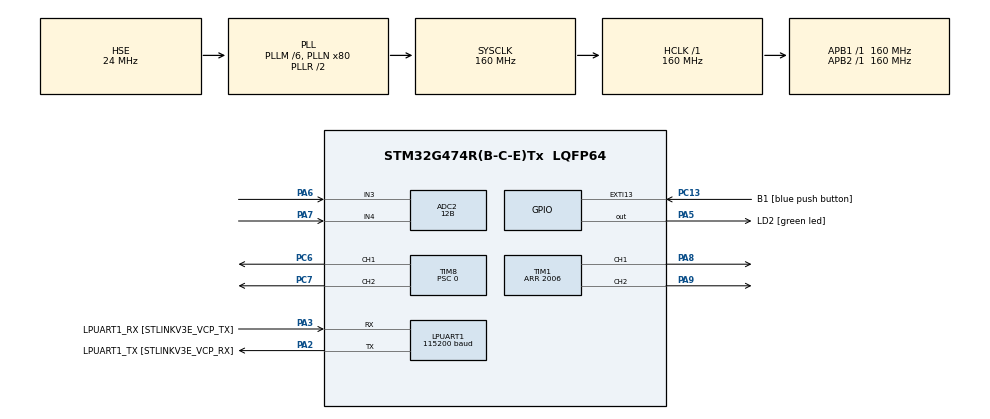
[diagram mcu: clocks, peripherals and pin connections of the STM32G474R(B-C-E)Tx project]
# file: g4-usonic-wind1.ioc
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Mcu.Family=STM32G4
Dma.ADC2.0.SyncRequestNumber=1
ADC2.ExternalTrigConv=ADC_EXTERNALTRIG_T3_TRGO
PA6.Mode=IN3-Differential
RCC.CortexFreq_Value=160000000
Dma.ADC2.0.SyncEnable=DISABLE
Dma.ADC2.0.RequestNumber=1
ADC2.Channel-0\#ChannelRegularConversion=ADC_CHANNEL_3
PA14.GPIO_Label=T_SWCLK
LPUART1.WordLength=UART_WORDLENGTH_8B
PC13.GPIO_Label=B1 [blue push button]
RCC.SYSCLKSource=RCC_SYSCLKSOURCE_PLLCLK
ProjectManager.StackSize=0x400
TIM1.Dithering=Disable
TIM1.Channel-Output\ Compare2\ CH2=TIM_CHANNEL_2
ADC2.DMAContinuousRequests=ENABLE
RCC.HCLKFreq_Value=160000000
Dma.ADC2.0.Direction=DMA_PERIPH_TO_MEMORY
RCC.APB2TimFreq_Value=160000000
PC7.Signal=S_TIM8_CH2
Dma.ADC2.0.MemInc=DMA_MINC_ENABLE
ADC2.EOCSelection=ADC_EOC_SEQ_CONV
RCC.AHBFreq_Value=160000000
Dma.ADC2.0.Priority=DMA_PRIORITY_LOW
NVIC.EXTI15_10_IRQn=true\:0\:0\:false\:false\:true\:true\:true
RCC.HSE_VALUE=24000000
PB3.Mode=Trace_Asynchronous_SW
RCC.ADC12Freq_Value=160000000
RCC.RTCClockSelection=RCC_RTCCLKSOURCE_LSE
Dma.ADC2.0.SyncSignalID=NONE
PC14-OSC32_IN.Mode=LSE-External-Oscillator
PA14.Mode=Trace_Asynchronous_SW
ADC2.SingleDiff-0\#ChannelRegularConversion=ADC_DIFFERENTIAL_ENDED
VP_CORDIC_VS_CORDIC.Mode=CORDIC_Activate
TIM3.Prescaler=0
VP_SYS_VS_DBSignals.Mode=DisableDeadBatterySignals
Dma.ADC2.0.SignalID=NONE
PA8.Signal=S_TIM1_CH1
VP_TIM1_VS_ClockSourceINT.Mode=Internal
Dma.ADC2.0.Polarity=HAL_DMAMUX_REQ_GEN_RISING
Mcu.Package=LQFP64
PA6.Signal=ADC2_IN3
TIM8.OCMode_2=TIM_OCMODE_TOGGLE
PA2.GPIO_Label=LPUART1_TX [STLINKV3E_VCP_RX]
TIM8.OCMode_1=TIM_OCMODE_TOGGLE
ADC2.SamplingTime-0\#ChannelRegularConversion=ADC_SAMPLETIME_2CYCLES_5
TIM3.PeriodNoDither=99
Dma.ADC2.0.EventEnable=DISABLE
Dma.ADC2.0.Mode=DMA_CIRCULAR
TIM8.Prescaler=0
Dma.ADC2.0.PeriphDataAlignment=DMA_PDATAALIGN_HALFWORD
RCC.APB1TimFreq_Value=160000000
VP_SYS_V_VREFBUF.Mode=ExternalMode
ADC2.Rank-0\#ChannelRegularConversion=1
PF1-OSC_OUT.Mode=HSE-External-Oscillator
Dma.Request0=ADC2
TIM1.PulseNoDither_1=1
TIM1.PulseNoDither_2=1301
VP_TIM3_VS_ClockSourceINT.Mode=Internal
PF1-OSC_OUT.Signal=RCC_OSC_OUT
RCC.HSI48_VALUE=48000000
PA3.Signal=LPUART1_RX
PB3.GPIO_Label=T_SWO
ADC2.ClockPrescaler=ADC_CLOCK_SYNC_PCLK_DIV1
RCC.PLLSourceVirtual=RCC_PLLSOURCE_HSE
PC15-OSC32_OUT.Mode=LSE-External-Oscillator
PA7.Mode=IN3-Differential
PC13.Signal=GPXTI13
TIM1.OCMode_2=TIM_OCMODE_TOGGLE
PC6.Signal=S_TIM8_CH1
TIM1.OCMode_1=TIM_OCMODE_TOGGLE
RCC.EXTERNAL_CLOCK_VALUE=12288000
PC14-OSC32_IN.Signal=RCC_OSC32_IN
TIM8.PulseNoDither_1=1
TIM8.PulseNoDither_2=1301
SH.S_TIM8_CH2.0=TIM8_CH2,Output Compare2 CH2
Dma.ADC2.0.SyncPolarity=HAL_DMAMUX_SYNC_NO_EVENT
PA13.Signal=SYS_JTMS-SWDIO
PA3.Mode=Asynchronous
SH.S_TIM1_CH1.0=TIM1_CH1,Output Compare1 CH1
ADC2.ContinuousConvMode=DISABLE
ProjectManager.TargetToolchain=STM32CubeIDE
Dma.ADC2.0.MemDataAlignment=DMA_MDATAALIGN_HALFWORD
PA9.Signal=S_TIM1_CH2
VP_TIM8_VS_ClockSourceINT.Mode=Internal
TIM8.Channel-Output\ Compare1\ CH1=TIM_CHANNEL_1
RCC.USBFreq_Value=160000000
PC15-OSC32_OUT.Signal=RCC_OSC32_OUT
PF0-OSC_IN.Mode=HSE-External-Oscillator
PA5.Signal=GPIO_Output
ADC2.OffsetNumber-0\#ChannelRegularConversion=ADC_OFFSET_NONE
SH.S_TIM8_CH1.0=TIM8_CH1,Output Compare1 CH1
TIM8.AutoReloadPreload=TIM_AUTORELOAD_PRELOAD_ENABLE
board=NUCLEO-G474RE
RCC.VCOOutputFreq_Value=320000000
Dma.ADC2.0.PeriphInc=DMA_PINC_DISABLE
RCC.ADC345Freq_Value=160000000
TIM1.TIM_MasterOutputTrigger=TIM_TRGO_ENABLE
RCC.APB2Freq_Value=160000000
SH.S_TIM1_CH2.0=TIM1_CH2,Output Compare2 CH2
TIM8.Channel-Output\ Compare2\ CH2=TIM_CHANNEL_2
PA13.Mode=Trace_Asynchronous_SW
Mcu.Name=STM32G474R(B-C-E)Tx
ADC2.Resolution=ADC_RESOLUTION_12B
LPUART1.BaudRate=115200
PA13.GPIO_Label=T_SWDIO
PA2.Signal=LPUART1_TX
PB3.Signal=SYS_JTDO-SWO
RCC.SYSCLKFreq_VALUE=160000000
PA5.GPIO_Label=LD2 [green led]
ADC2.NbrOfConversionFlag=1
TIM8.TIM_MasterOutputTrigger=TIM_TRGO_OC4REF
PA14.Signal=SYS_JTCK-SWCLK
ProjectManager.HeapSize=0x200
ADC2.OversamplingMode=DISABLE
TIM1.Channel-Output\ Compare1\ CH1=TIM_CHANNEL_1
TIM8.PeriodNoDither=1999
RCC.HSI_VALUE=16000000
NVIC.PriorityGroup=NVIC_PRIORITYGROUP_4
RCC.PLLM=RCC_PLLM_DIV6
RCC.PLLN=80
PA2.Mode=Asynchronous
NVIC.DMA1_Channel1_IRQn=true\:0\:0\:false\:false\:true\:false\:true
PF0-OSC_IN.Signal=RCC_OSC_IN
TIM3.TIM_MasterOutputTrigger=TIM_TRGO_UPDATE
RCC.APB1Freq_Value=160000000
Dma.ADC2.0.Instance=DMA1_Channel1
TIM1.PeriodNoDither=2006
TIM1.TIM_MasterSlaveMode=TIM_MASTERSLAVEMODE_ENABLE
PA3.GPIO_Label=LPUART1_RX [STLINKV3E_VCP_TX]
PA7.Signal=ADC2_IN4

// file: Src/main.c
/* USER CODE BEGIN Header */
/**
 ******************************************************************************
 * @file           : main.c
 * @brief          : Main program body
 ******************************************************************************
 * @attention
 *
 * <h2><center>&copy; Copyright (c) 2019 STMicroelectronics.
 * All rights reserved.</center></h2>
 *
 * This software component is licensed by ST under BSD 3-Clause license,
 * the "License"; You may not use this file except in compliance with the
 * License. You may obtain a copy of the License at:
 *                        opensource.org/licenses/BSD-3-Clause
 *
 ******************************************************************************
 */
/* USER CODE END Header */

#include "main.h"
#include "adc.h"
#include "cordic.h"
#include "dma.h"
#include "usart.h"
#include "tim.h"
#include "gpio.h"

void SystemClock_Config(void);
/* USER CODE BEGIN PFP */
#pragma clang diagnostic push
#pragma ide diagnostic ignored "readability-redundant-declaration"
_Noreturn void assert_failed(uint8_t *file, uint32_t line);
/* USER CODE END PFP */

/* USER CODE BEGIN 0 */
#pragma clang diagnostic push
#pragma ide diagnostic ignored "bugprone-reserved-identifier"
#pragma ide diagnostic ignored "cert-dcl37-c"
#pragma ide diagnostic ignored "cert-dcl51-cpp"
int _write(__unused int file, char *ptr, int len) {
  UNUSED(_write);
  HAL_UART_Transmit(&hlpuart1, (uint8_t *)ptr, len, len);
  return len;
}
#pragma clang diagnostic pop
#pragma clang diagnostic pop
uint16_t adcBuffer[ADC_BUF_LEN];

volatile int adcFinished = 3;
void HAL_ADC_ConvCpltCallback(ADC_HandleTypeDef *hadc) {
  UNUSED(hadc);
  if (--adcFinished == 0) {
    __HAL_TIM_ENABLE(&htim3);
    __HAL_TIM_ENABLE(&htim1);
    __HAL_TIM_ENABLE(&htim8);
  }
}
void enableTimUpdateTrgO(TIM_HandleTypeDef *timHandle) {
  MODIFY_REG(timHandle->Instance->SMCR, TIM_SMCR_SMS, TIM_SMCR_SMS_1);
}

void static inline writeBit(const volatile uint32_t *reg, int bitNum, int v) {
  *(volatile int *)(PERIPH_BB_BASE + 32L * ((uint32_t)(reg)-PERIPH_BASE) +
                    bitNum) = v;
}
void static inline setBit(volatile uint32_t *reg, int bitNum) {
  writeBit(reg, bitNum, 1);
}
void static inline resetBit(volatile uint32_t *reg, int bitNum) {
  writeBit(reg, bitNum, 0);
}
void startTimers() {
  HAL_SuspendTick();
  __HAL_TIM_SET_COUNTER(&htim1,0);
  __HAL_TIM_SET_COUNTER(&htim3,0);
  __HAL_TIM_SET_COUNTER(&htim8,0);
  setBit(&TIM1->CR1, TIM_CR1_CEN_Pos);
  setBit(&TIM3->CR1, TIM_CR1_CEN_Pos);
  setBit(&TIM8->CR1, TIM_CR1_CEN_Pos);
  /*
    *(volatile uint32_t *)(PERIPH_BB_BASE +
                           32L * (uint32_t)((&) - PERIPH_BASE)) =
        0xFFFFFFFF;
    HAL_TIM_Base_Start(&htim8);
    HAL_TIM_Base_Start(&htim3);
    HAL_TIM_Base_Start(&htim1);
  */
}

void stoptTimers() {
  resetBit(&TIM3->CR1, TIM_CR1_CEN_Pos);
  resetBit(&TIM1->CR1, TIM_CR1_CEN_Pos);
  resetBit(&TIM8->CR1, TIM_CR1_CEN_Pos);
  HAL_ResumeTick();
}

/* USER CODE END 0 */

int main(void)
{

  /* MCU Configuration--------------------------------------------------------*/

  /* Reset of all peripherals, Initializes the Flash interface and the Systick. */
  HAL_Init();

  /* Configure the system clock */
  SystemClock_Config();

  /* Initialize all configured peripherals */
  MX_GPIO_Init();
  MX_LPUART1_UART_Init();
  MX_CORDIC_Init();
  MX_TIM8_Init();
  MX_DMA_Init();
  MX_ADC2_Init();
  MX_TIM1_Init();
  MX_TIM3_Init();
  /* USER CODE BEGIN 2 */
  HAL_ADCEx_Calibration_Start(&hadc2, ADC_SINGLE_ENDED);
  HAL_DBGMCU_EnableDBGSleepMode();
  HAL_TIM_OC_Start(&htim8, TIM_CHANNEL_1);
  HAL_TIM_OC_Start(&htim8, TIM_CHANNEL_2);

  HAL_TIM_OC_Start(&htim1, TIM_CHANNEL_1);
  HAL_TIM_OC_Start(&htim1, TIM_CHANNEL_2);

  while (HAL_ADC_GetState(&hadc2) == HAL_ADC_STATE_REG_BUSY) {
  }

  /* USER CODE END 2 */

  /* Infinite loop */
  /* USER CODE BEGIN WHILE */
#pragma clang diagnostic push
#pragma ide diagnostic ignored "EndlessLoop"
  while (1) {

    static unsigned long dists[2000];

    for (int shift = 0; shift <2000; shift+= 1) {
    /* USER CODE END WHILE */

    /* USER CODE BEGIN 3 */

      HAL_GPIO_TogglePin(LD2_GPIO_Port, LD2_Pin);

      adcFinished = 5;
      stoptTimers();
      HAL_ADC_Start_DMA(&hadc2, (uint32_t *)&adcBuffer, ADC_BUF_LEN);
      HAL_Delay(1000);
      startTimers();
      while (adcFinished != 0) {
        __NOP();
      }
      stoptTimers();
      HAL_ADC_Stop_DMA(&hadc2);
      HAL_ResumeTick();
      processData();
      HAL_NVIC_SystemReset(); // todo remove
    }
  }
#pragma clang diagnostic pop
  /* USER CODE END 3 */
}

void SystemClock_Config(void)
{
  RCC_OscInitTypeDef RCC_OscInitStruct = {0};
  RCC_ClkInitTypeDef RCC_ClkInitStruct = {0};
  RCC_PeriphCLKInitTypeDef PeriphClkInit = {0};

  /** Configure the main internal regulator output voltage
  */
  HAL_PWREx_ControlVoltageScaling(PWR_REGULATOR_VOLTAGE_SCALE1_BOOST);
  /** Initializes the CPU, AHB and APB busses clocks
  */
  RCC_OscInitStruct.OscillatorType = RCC_OSCILLATORTYPE_HSE;
  RCC_OscInitStruct.HSEState = RCC_HSE_ON;
  RCC_OscInitStruct.PLL.PLLState = RCC_PLL_ON;
  RCC_OscInitStruct.PLL.PLLSource = RCC_PLLSOURCE_HSE;
  RCC_OscInitStruct.PLL.PLLM = RCC_PLLM_DIV6;
  RCC_OscInitStruct.PLL.PLLN = 80;
  RCC_OscInitStruct.PLL.PLLP = RCC_PLLP_DIV2;
  RCC_OscInitStruct.PLL.PLLQ = RCC_PLLQ_DIV2;
  RCC_OscInitStruct.PLL.PLLR = RCC_PLLR_DIV2;
  if (HAL_RCC_OscConfig(&RCC_OscInitStruct) != HAL_OK)
  {
    Error_Handler();
  }
  /** Initializes the CPU, AHB and APB busses clocks
  */
  RCC_ClkInitStruct.ClockType = RCC_CLOCKTYPE_HCLK|RCC_CLOCKTYPE_SYSCLK
                              |RCC_CLOCKTYPE_PCLK1|RCC_CLOCKTYPE_PCLK2;
  RCC_ClkInitStruct.SYSCLKSource = RCC_SYSCLKSOURCE_PLLCLK;
  RCC_ClkInitStruct.AHBCLKDivider = RCC_SYSCLK_DIV1;
  RCC_ClkInitStruct.APB1CLKDivider = RCC_HCLK_DIV1;
  RCC_ClkInitStruct.APB2CLKDivider = RCC_HCLK_DIV1;

  if (HAL_RCC_ClockConfig(&RCC_ClkInitStruct, FLASH_LATENCY_7) != HAL_OK)
  {
    Error_Handler();
  }
  /** Initializes the peripherals clocks
  */
  PeriphClkInit.PeriphClockSelection = RCC_PERIPHCLK_LPUART1|RCC_PERIPHCLK_ADC12;
  PeriphClkInit.Lpuart1ClockSelection = RCC_LPUART1CLKSOURCE_PCLK1;
  PeriphClkInit.Adc12ClockSelection = RCC_ADC12CLKSOURCE_SYSCLK;
  if (HAL_RCCEx_PeriphCLKConfig(&PeriphClkInit) != HAL_OK)
  {
    Error_Handler();
  }
}

void Error_Handler(void)
{
}

#ifdef  USE_FULL_ASSERT
/**
  * @brief  Reports the name of the source file and the source line number
  *         where the assert_param error has occurred.
  * @param  file: pointer to the source file name
  * @param  line: assert_param error line source number
  * @retval None
  */
void assert_failed(uint8_t *file, uint32_t line)
{
  /* USER CODE BEGIN 6 */
  file = file; // block warnings
  UNUSED(line);
  printf("Wrong parameters value: file %s on line %lu\r\n", file, line);
  while(true);
  /* User can add his own implementation to report the file name and line number,
     tex: printf("Wrong parameters value: file %s on line %d\r\n", file, line) */
  /* USER CODE END 6 */
}
#endif /* USE_FULL_ASSERT */

/************************ (C) COPYRIGHT STMicroelectronics *****END OF FILE****/
